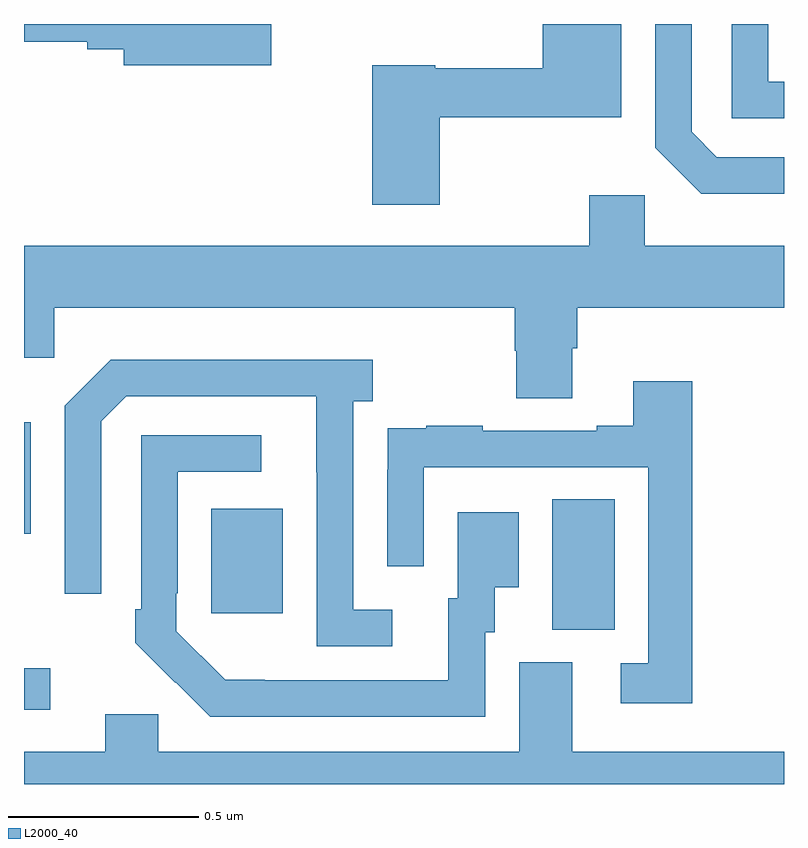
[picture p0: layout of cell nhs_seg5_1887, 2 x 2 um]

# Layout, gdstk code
import gdstk
lib = gdstk.Library(unit=1e-6, precision=1e-09)
def R(c, l, rs):  # rectangles x0, y0, x1, y1
    for r in rs: c.add(gdstk.rectangle(r[:2], r[2:], *l))
def P(c, l, *ps):  # polygons
    for p in ps: c.add(gdstk.Polygon(p, *l))
L2000_40 = (2000, 40)

nhs_seg5_1887 = lib.new_cell('nhs_seg5_1887')
R(nhs_seg5_1887, L2000_40, [(136,896.994,136.069,897.103), (137.39,897.205,137.554,897.548), (136.493,897.249,136.681,897.523), (136,897.458,136.018,897.751)])
P(nhs_seg5_1887, L2000_40, [(137.094,898.554),(137.572,898.554),(137.572,898.799),(137.365,898.799),(137.365,898.682),(137.082,898.682),(137.082,898.69),(136.916,898.69),(136.916,898.323),(137.094,898.323)],
  [(136.651,898.799),(136,898.799),(136,898.752),(136.166,898.752),(136.166,898.732),(136.262,898.732),(136.262,898.69),(136.651,898.69)],
  [(138,898.647),(137.958,898.647),(137.958,898.799),(137.862,898.799),(137.862,898.551),(138,898.551)],
  [(138,898.449),(137.823,898.449),(137.757,898.515),(137.757,898.799),(137.661,898.799),(137.661,898.473),(137.782,898.352),(138,898.352)],
  [(137.443,897.946),(137.456,897.946),(137.456,898.052),(138,898.052),(138,898.216),(137.634,898.216),(137.634,898.348),(137.488,898.348),(137.488,898.216),(136,898.216),(136,897.921),(136.08,897.921),(136.08,898.052),(137.291,898.052),(137.291,897.939),(137.296,897.939),(137.296,897.814),(137.443,897.814)],
  [(136.969,897.258),(136.866,897.258),(136.866,897.806),(136.918,897.806),(136.918,897.916),(136.228,897.916),(136.107,897.795),(136.107,897.3),(136.203,897.3),(136.203,897.753),(136.269,897.819),(136.769,897.819),(136.769,897.619),(136.77,897.619),(136.77,897.162),(136.969,897.162)],
  [(137.759,897.859),(137.603,897.859),(137.603,897.742),(137.507,897.742),(137.507,897.729),(137.207,897.729),(137.207,897.742),(137.059,897.742),(137.059,897.735),(136.957,897.735),(136.957,897.626),(136.956,897.626),(136.956,897.372),(137.052,897.372),(137.052,897.633),(137.643,897.633),(137.643,897.117),(137.571,897.117),(137.571,897.012),(137.759,897.012)],
  [(137.214,897.198),(137.239,897.198),(137.239,897.317),(137.302,897.317),(137.302,897.514),(137.141,897.514),(137.141,897.288),(137.117,897.288),(137.117,897.072),(136.633,897.072),(136.633,897.073),(136.53,897.073),(136.401,897.201),(136.401,897.301),(136.404,897.301),(136.404,897.621),(136.624,897.621),(136.624,897.717),(136.308,897.717),(136.308,897.259),(136.293,897.259),(136.293,897.171),(136.398,897.066),(136.399,897.067),(136.49,896.976),(137.214,896.976)],
  [(138,896.884),(137.443,896.884),(137.443,897.12),(137.303,897.12),(137.303,896.884),(136.353,896.884),(136.353,896.982),(136.214,896.982),(136.214,896.884),(136,896.884),(136,896.799),(138,896.799)])

lib.write_gds('nhs_seg5_1887.gds')
